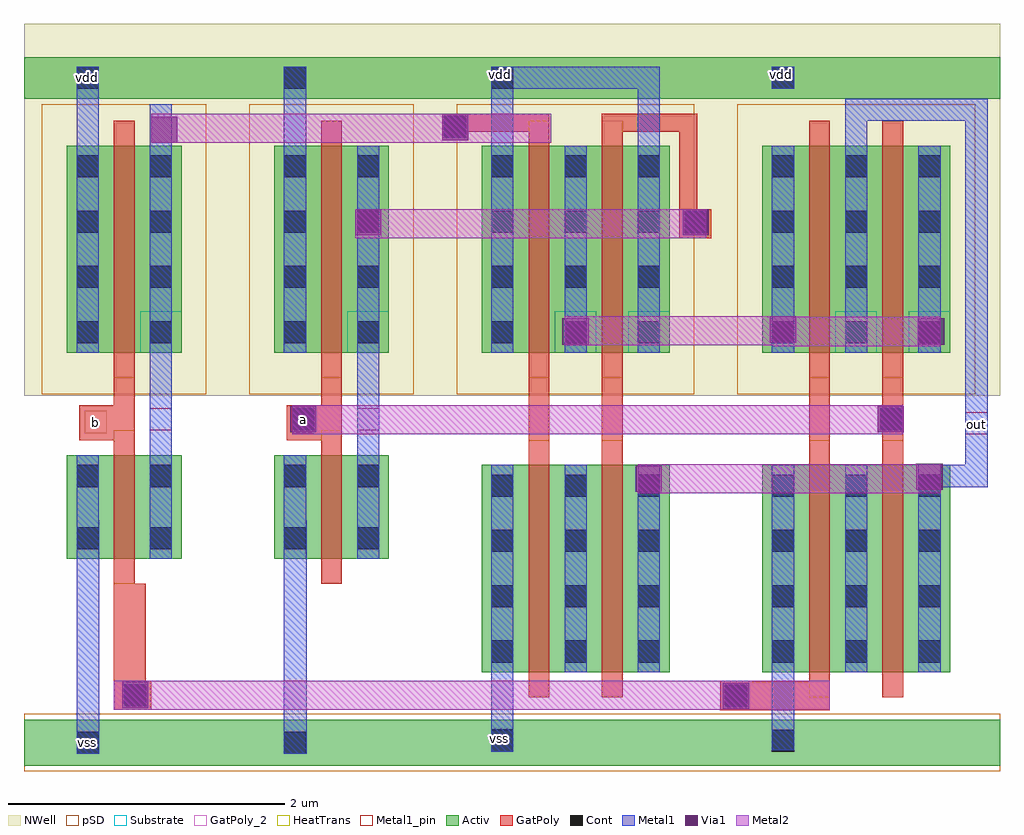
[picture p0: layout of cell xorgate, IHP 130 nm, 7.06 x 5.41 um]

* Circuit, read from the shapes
.subckt xorgate a b out vdd vss
XM1 inverter$3_8/out b vss vss sg13_lv_nmos w=0.75u l=0.15u
XM2 inverter$3_7/out a vss vss sg13_lv_nmos w=0.75u l=0.15u
XM3 n1 inverter$3_8/out vss vss sg13_lv_nmos w=1.5u l=0.15u
XM4 out inverter$3_7/out n1 vss sg13_lv_nmos w=1.5u l=0.15u
XM5 n2 b vss vss sg13_lv_nmos w=1.5u l=0.15u
XM6 out a n2 vss sg13_lv_nmos w=1.5u l=0.15u
XM7 inverter$3_8/out b vdd vdd sg13_lv_pmos w=1.5u l=0.15u
XM8 inverter$3_7/out a vdd vdd sg13_lv_pmos w=1.5u l=0.15u
XM9 n3 inverter$3_8/out vdd vdd sg13_lv_pmos w=1.5u l=0.15u
XM10 vdd inverter$3_7/out n3 vdd sg13_lv_pmos w=1.5u l=0.15u
XM11 out b n3 vdd sg13_lv_pmos w=1.5u l=0.15u
XM12 n3 a out vdd sg13_lv_pmos w=1.5u l=0.15u
.ends

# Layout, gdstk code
from math import pi, radians
import gdstk
lib = gdstk.Library(unit=1e-6, precision=5e-09)
def R(c, l, rs):  # rectangles x0, y0, x1, y1
    for r in rs: c.add(gdstk.rectangle(r[:2], r[2:], *l))
def A(c, l, x, y, w, h, nx, ny, dx, dy):  # array of equal rectangles
    R(c, l, [(x+i*dx, y+j*dy, x+i*dx+w, y+j*dy+h) for i in range(nx) for j in range(ny)])
Activ = (1, 0)
GatPoly = (5, 0)
GatPoly_2 = (5, 2)
Cont = (6, 0)
Metal1 = (8, 0)
Metal1_pin = (8, 2)
Metal2 = (10, 0)
pSD = (14, 0)
Via1 = (19, 0)
NWell = (31, 0)
Substrate = (40, 0)
HeatTrans = (51, 0)

nmos_1 = lib.new_cell('nmos$1')
R(nmos_1, Activ, [(0,0,0.3,0.3), (0,0,0.83,1.5), (0.53,0,0.83,0.3)])
R(nmos_1, GatPoly, [(0.34,-0.18,0.49,1.68)])
R(nmos_1, GatPoly_2, [(0.34,-0.18,0.49,1.68)])
A(nmos_1, Cont, 0.07, 0.07, 0.16, 0.16, 1, 4, 0, 0.4)
A(nmos_1, Cont, 0.6, 0.07, 0.16, 0.16, 1, 4, 0, 0.4)
R(nmos_1, Metal1, [(0.07,0,0.23,1.5), (0.6,0,0.76,1.5)])
R(nmos_1, Metal1_pin, [(0.07,0,0.23,1.5), (0.6,0,0.76,1.5)])
R(nmos_1, HeatTrans, [(0.34,-0.18,0.49,1.68)])
nmos_1.add(gdstk.Label('nmos', (0.415,0.75), layer=63, texttype=0))
nmos_1.add(gdstk.Label('nmos', (0.415,0.75), layer=51, texttype=0))

pmos = lib.new_cell('pmos')
R(pmos, Activ, [(0,0,0.3,0.3), (0,0,0.83,1.5), (0.53,0,0.83,0.3)])
R(pmos, GatPoly, [(0.34,-0.18,0.49,1.68), (0.34,-0.18,0.49,1.68)])
A(pmos, Cont, 0.07, 0.07, 0.16, 0.16, 1, 4, 0, 0.4)
A(pmos, Cont, 0.6, 0.07, 0.16, 0.16, 1, 4, 0, 0.4)
R(pmos, Metal1, [(0.07,0,0.23,1.5), (0.07,0,0.23,1.5), (0.6,0,0.76,1.5), (0.6,0,0.76,1.5)])
R(pmos, pSD, [(-0.18,-0.3,1.01,1.8)])
R(pmos, NWell, [(-0.31,-0.31,1.14,1.81)])
R(pmos, Substrate, [(0.53,0,0.83,0.3)])
R(pmos, HeatTrans, [(0.34,-0.18,0.49,1.68)])
pmos.add(gdstk.Label('pmos', (0.415,0.75), layer=63, texttype=0))
pmos.add(gdstk.Label('pmos', (0.415,0.75), layer=51, texttype=0))

nmos_4 = lib.new_cell('nmos$4')
R(nmos_4, Activ, [(0,0,0.3,0.3), (0,0,0.83,0.75), (0.53,0,0.83,0.3)])
R(nmos_4, GatPoly, [(0.34,-0.18,0.49,0.93)])
R(nmos_4, GatPoly_2, [(0.34,-0.18,0.49,0.93)])
R(nmos_4, Cont, [(0.07,0.07,0.23,0.23), (0.6,0.07,0.76,0.23), (0.07,0.52,0.23,0.68), (0.6,0.52,0.76,0.68)])
R(nmos_4, Metal1, [(0.07,0,0.23,0.75), (0.6,0,0.76,0.75)])
R(nmos_4, Metal1_pin, [(0.07,0,0.23,0.75), (0.6,0,0.76,0.75)])
R(nmos_4, HeatTrans, [(0.34,-0.18,0.49,0.93)])
nmos_4.add(gdstk.Label('nmos', (0.415,0.375), layer=63, texttype=0))
nmos_4.add(gdstk.Label('nmos', (0.415,0.375), layer=51, texttype=0))

pmos_4 = lib.new_cell('pmos$4')
R(pmos_4, Activ, [(0,0,0.3,0.3), (0,0,0.83,1.5), (0.53,0,0.83,0.3)])
R(pmos_4, GatPoly, [(0.34,-0.18,0.49,1.68), (0.34,-0.18,0.49,1.68)])
A(pmos_4, Cont, 0.07, 0.07, 0.16, 0.16, 1, 4, 0, 0.4)
A(pmos_4, Cont, 0.6, 0.07, 0.16, 0.16, 1, 4, 0, 0.4)
R(pmos_4, Metal1, [(0.07,0,0.23,1.5), (0.07,0,0.23,1.5), (0.6,0,0.76,1.5), (0.6,0,0.76,1.5)])
R(pmos_4, pSD, [(-0.18,-0.3,1.01,1.8)])
R(pmos_4, NWell, [(-0.31,-0.31,1.14,1.81)])
R(pmos_4, Substrate, [(0.53,0,0.83,0.3)])
R(pmos_4, HeatTrans, [(0.34,-0.18,0.49,1.68)])
pmos_4.add(gdstk.Label('pmos', (0.415,0.75), layer=63, texttype=0))
pmos_4.add(gdstk.Label('pmos', (0.415,0.75), layer=51, texttype=0))

inverter_3 = lib.new_cell('inverter$3')
R(inverter_3, Activ, [(-0.845,-2.62,0.395,-2.29), (-0.795,2.205,0.285,2.505)])
R(inverter_3, GatPoly, [(-0.525,-0.265,-0.275,-0.015), (-0.275,-0.195,-0.125,0.185)])
R(inverter_3, GatPoly_2, [(-0.485,-0.215,-0.325,-0.055)])
R(inverter_3, Cont, [(-0.545,-2.535,-0.385,-2.375), (-0.545,-2.535,-0.385,-2.375), (-0.545,2.275,-0.385,2.435)])
R(inverter_3, Metal1, [(-0.545,-2.535,-0.38,-0.845), (-0.015,-0.375,0.145,0.365), (-0.545,1.865,-0.385,2.435)])
R(inverter_3, Metal1_pin, [(-0.015,-0.195,0.145,-0.035)])
R(inverter_3, pSD, [(-0.925,-2.66,0.525,-2.245)])
R(inverter_3, NWell, [(-0.925,2.175,0.525,2.745)])
inverter_3.add(gdstk.Reference(nmos_4, (-0.615,-1.125)))
inverter_3.add(gdstk.Reference(pmos_4, (-0.615,0.365)))
inverter_3.add(gdstk.Label('vss', (-0.475,-2.43), layer=8, texttype=2))
inverter_3.add(gdstk.Label('vdd', (-0.465,2.355), layer=8, texttype=2))
inverter_3.add(gdstk.Label('out', (0.06,-0.09), layer=8, texttype=2))
inverter_3.add(gdstk.Label('in', (-0.45,-0.11), layer=5, texttype=2))

xorgate = lib.new_cell('xorgate')
R(xorgate, Activ, [(-5.955,-2.62,-0.845,-2.29), (-0.845,-2.62,1.105,-2.29), (-5.955,2.205,-0.795,2.505), (-0.795,2.205,1.105,2.505)])
R(xorgate, GatPoly, [(-0.92,-2.22,-0.69,-2.005), (-0.69,-2.22,-0.125,-2.015), (-5.305,-2.215,-5.075,-1.305), (-5.265,-2.215,-5.035,-2.005), (-2.305,-0.265,-2.155,0.185), (-1.775,-0.265,-1.625,0.185), (-0.275,-0.265,-0.125,0.185), (0.255,-0.265,0.405,0.185), (-1.215,1.195,-0.985,1.405), (-1.215,1.405,-1.085,2.095), (-2.93,1.905,-2.74,2.095), (-2.825,1.965,-2.155,2.095), (-1.775,1.965,-1.215,2.095)])
R(xorgate, GatPoly_2, [(-5.515,-0.215,-5.355,-0.055)])
R(xorgate, Cont, [(-2.575,-2.52,-2.415,-2.36), (-0.545,-2.52,-0.385,-2.36), (-0.885,-2.195,-0.725,-2.035), (-5.23,-2.19,-5.07,-2.03), (-4.015,-0.195,-3.855,-0.035), (0.235,-0.195,0.395,-0.035), (-1.175,1.23,-1.015,1.39), (-2.915,1.92,-2.755,2.08), (-2.575,2.275,-2.415,2.435), (-0.545,2.275,-0.385,2.435)])
R(xorgate, Metal1, [(-2.575,-2.52,-2.415,-0.445), (-0.545,-2.51,-0.385,-1.715), (-0.885,-2.195,-0.725,-2.035), (-5.23,-2.19,-5.07,-2.03), (0.675,-0.605,1.015,-0.445), (0.855,-0.605,1.015,-0.225), (0.855,-0.225,1.015,2.045), (-4.015,-0.195,-3.855,-0.035), (0.235,-0.195,0.395,-0.035), (-2.575,0.365,-2.415,2.435), (-1.175,1.23,-1.015,1.39), (-5.045,1.865,-4.885,2.165), (-2.575,1.865,-2.415,2.435), (-1.515,1.865,-1.355,2.435), (-0.015,1.865,0.145,2.045), (-2.915,1.92,-2.755,2.08), (-0.015,2.045,1.015,2.205), (-2.575,2.275,-1.355,2.435), (-0.545,2.275,-0.385,2.435)])
R(xorgate, Metal1_pin, [(-2.575,-2.52,-2.415,-2.355), (0.855,-0.225,1.015,-0.065), (-2.575,2.275,-2.415,2.435), (-0.545,2.275,-0.385,2.435)])
R(xorgate, Metal2, [(-5.305,-2.215,-0.125,-2.005), (-1.515,-0.65,0.675,-0.44), (-4.015,-0.225,0.405,-0.015), (-0.53,0.415,0.675,0.625), (-2.045,0.42,-0.385,0.63), (-3.56,1.195,-2.94,1.405), (-2.94,1.195,-1.02,1.405), (-5.035,1.885,-2.14,2.095)])
R(xorgate, pSD, [(-5.955,-2.66,-0.925,-2.245), (-0.925,-2.66,1.105,-2.245)])
R(xorgate, Via1, [(-0.9,-2.21,-0.71,-2.02), (-5.245,-2.205,-5.055,-2.015), (-1.53,-0.64,-1.34,-0.45), (0.5,-0.625,0.69,-0.435), (-4.03,-0.21,-3.84,-0.02), (0.22,-0.21,0.41,-0.02), (-2.06,0.425,-1.87,0.615), (0.51,0.425,0.7,0.615), (-0.56,0.44,-0.37,0.63), (-3.56,1.215,-3.37,1.405), (-1.19,1.215,-1,1.405), (-5.035,1.885,-4.845,2.075), (-2.93,1.905,-2.74,2.095)])
R(xorgate, NWell, [(-5.955,0.055,1.105,2.745), (-5.955,2.175,-0.925,2.745), (-0.925,2.175,1.105,2.745)])
xorgate.add(gdstk.Reference(nmos_1, (0.745,-0.445), rotation=pi))
xorgate.add(gdstk.Reference(nmos_1, (-0.615,-1.945)))
xorgate.add(gdstk.Reference(pmos, (-0.615,0.365)))
xorgate.add(gdstk.Reference(pmos, (-0.085,0.365)))
xorgate.add(gdstk.Reference(pmos, (-2.645,0.365)))
xorgate.add(gdstk.Reference(nmos_1, (-1.285,-0.445), rotation=pi))
xorgate.add(gdstk.Reference(nmos_1, (-2.645,-1.945)))
xorgate.add(gdstk.Reference(inverter_3, (-3.53,0)))
xorgate.add(gdstk.Reference(inverter_3, (-5.03,0)))
xorgate.add(gdstk.Reference(pmos, (-2.115,0.365)))
xorgate.add(gdstk.Label('out', (0.935,-0.15), layer=8, texttype=2))
xorgate.add(gdstk.Label('vdd', (-5.495,2.355), layer=8, texttype=2))
xorgate.add(gdstk.Label('vss', (-5.495,-2.455), layer=8, texttype=2))
xorgate.add(gdstk.Label('vdd', (-2.505,2.38), layer=8, texttype=2))
xorgate.add(gdstk.Label('vss', (-2.515,-2.425), layer=8, texttype=2))
xorgate.add(gdstk.Label('vdd', (-0.475,2.38), layer=8, texttype=2))
xorgate.add(gdstk.Label('a', (-3.93,-0.12), layer=5, texttype=2))
xorgate.add(gdstk.Label('b', (-5.435,-0.135), layer=5, texttype=2))

lib.write_gds('xorgate.gds')
